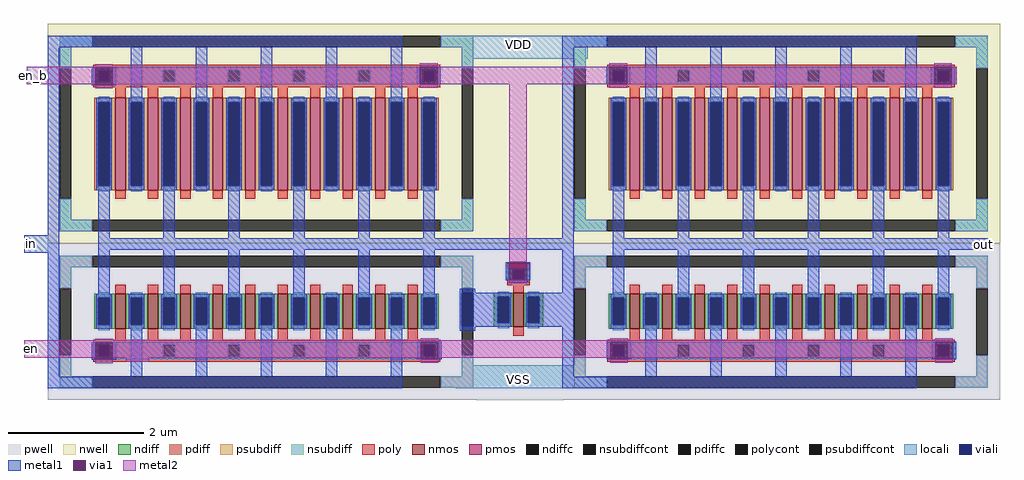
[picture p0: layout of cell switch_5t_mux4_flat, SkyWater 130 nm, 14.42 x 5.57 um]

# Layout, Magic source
magic
tech sky130A
<< nwell >>
rect 81 234 1488 559
<< pwell >>
rect 81 3 1488 234
rect 715 2 843 3
<< nmos >>
rect 181 108 196 160
rect 229 108 244 160
rect 277 108 292 160
rect 325 108 340 160
rect 373 108 388 160
rect 421 108 436 160
rect 469 108 484 160
rect 517 108 532 160
rect 565 108 580 160
rect 613 108 628 160
rect 769 111 784 161
rect 941 108 956 160
rect 989 108 1004 160
rect 1037 108 1052 160
rect 1085 108 1100 160
rect 1133 108 1148 160
rect 1181 108 1196 160
rect 1229 108 1244 160
rect 1277 108 1292 160
rect 1325 108 1340 160
rect 1373 108 1388 160
<< pmos >>
rect 181 313 196 449
rect 229 313 244 449
rect 277 313 292 449
rect 325 313 340 449
rect 373 313 388 449
rect 421 313 436 449
rect 469 313 484 449
rect 517 313 532 449
rect 565 313 580 449
rect 613 313 628 449
rect 941 313 956 449
rect 989 313 1004 449
rect 1037 313 1052 449
rect 1085 313 1100 449
rect 1133 313 1148 449
rect 1181 313 1196 449
rect 1229 313 1244 449
rect 1277 313 1292 449
rect 1325 313 1340 449
rect 1373 313 1388 449
<< ndiff >>
rect 150 154 181 160
rect 150 114 156 154
rect 173 114 181 154
rect 150 108 181 114
rect 196 154 229 160
rect 196 114 204 154
rect 221 114 229 154
rect 196 108 229 114
rect 244 154 277 160
rect 244 114 252 154
rect 269 114 277 154
rect 244 108 277 114
rect 292 154 325 160
rect 292 114 300 154
rect 317 114 325 154
rect 292 108 325 114
rect 340 154 373 160
rect 340 114 348 154
rect 365 114 373 154
rect 340 108 373 114
rect 388 154 421 160
rect 388 114 396 154
rect 413 114 421 154
rect 388 108 421 114
rect 436 154 469 160
rect 436 114 444 154
rect 461 114 469 154
rect 436 108 469 114
rect 484 154 517 160
rect 484 114 492 154
rect 509 114 517 154
rect 484 108 517 114
rect 532 154 565 160
rect 532 114 540 154
rect 557 114 565 154
rect 532 108 565 114
rect 580 154 613 160
rect 580 114 588 154
rect 605 114 613 154
rect 580 108 613 114
rect 628 154 659 160
rect 628 114 636 154
rect 653 114 659 154
rect 628 108 659 114
rect 740 155 769 161
rect 740 117 746 155
rect 763 117 769 155
rect 740 111 769 117
rect 784 155 813 161
rect 784 117 790 155
rect 807 117 813 155
rect 784 111 813 117
rect 910 154 941 160
rect 910 114 916 154
rect 933 114 941 154
rect 910 108 941 114
rect 956 154 989 160
rect 956 114 964 154
rect 981 114 989 154
rect 956 108 989 114
rect 1004 154 1037 160
rect 1004 114 1012 154
rect 1029 114 1037 154
rect 1004 108 1037 114
rect 1052 154 1085 160
rect 1052 114 1060 154
rect 1077 114 1085 154
rect 1052 108 1085 114
rect 1100 154 1133 160
rect 1100 114 1108 154
rect 1125 114 1133 154
rect 1100 108 1133 114
rect 1148 154 1181 160
rect 1148 114 1156 154
rect 1173 114 1181 154
rect 1148 108 1181 114
rect 1196 154 1229 160
rect 1196 114 1204 154
rect 1221 114 1229 154
rect 1196 108 1229 114
rect 1244 154 1277 160
rect 1244 114 1252 154
rect 1269 114 1277 154
rect 1244 108 1277 114
rect 1292 154 1325 160
rect 1292 114 1300 154
rect 1317 114 1325 154
rect 1292 108 1325 114
rect 1340 154 1373 160
rect 1340 114 1348 154
rect 1365 114 1373 154
rect 1340 108 1373 114
rect 1388 154 1419 160
rect 1388 114 1396 154
rect 1413 114 1419 154
rect 1388 108 1419 114
<< pdiff >>
rect 150 443 181 449
rect 150 319 156 443
rect 173 319 181 443
rect 150 313 181 319
rect 196 443 229 449
rect 196 319 204 443
rect 221 319 229 443
rect 196 313 229 319
rect 244 443 277 449
rect 244 319 252 443
rect 269 319 277 443
rect 244 313 277 319
rect 292 443 325 449
rect 292 319 300 443
rect 317 319 325 443
rect 292 313 325 319
rect 340 443 373 449
rect 340 319 348 443
rect 365 319 373 443
rect 340 313 373 319
rect 388 443 421 449
rect 388 319 396 443
rect 413 319 421 443
rect 388 313 421 319
rect 436 443 469 449
rect 436 319 444 443
rect 461 319 469 443
rect 436 313 469 319
rect 484 443 517 449
rect 484 319 492 443
rect 509 319 517 443
rect 484 313 517 319
rect 532 443 565 449
rect 532 319 540 443
rect 557 319 565 443
rect 532 313 565 319
rect 580 443 613 449
rect 580 319 588 443
rect 605 319 613 443
rect 580 313 613 319
rect 628 443 659 449
rect 628 319 636 443
rect 653 319 659 443
rect 628 313 659 319
rect 910 443 941 449
rect 910 319 916 443
rect 933 319 941 443
rect 910 313 941 319
rect 956 443 989 449
rect 956 319 964 443
rect 981 319 989 443
rect 956 313 989 319
rect 1004 443 1037 449
rect 1004 319 1012 443
rect 1029 319 1037 443
rect 1004 313 1037 319
rect 1052 443 1085 449
rect 1052 319 1060 443
rect 1077 319 1085 443
rect 1052 313 1085 319
rect 1100 443 1133 449
rect 1100 319 1108 443
rect 1125 319 1133 443
rect 1100 313 1133 319
rect 1148 443 1181 449
rect 1148 319 1156 443
rect 1173 319 1181 443
rect 1148 313 1181 319
rect 1196 443 1229 449
rect 1196 319 1204 443
rect 1221 319 1229 443
rect 1196 313 1229 319
rect 1244 443 1277 449
rect 1244 319 1252 443
rect 1269 319 1277 443
rect 1244 313 1277 319
rect 1292 443 1325 449
rect 1292 319 1300 443
rect 1317 319 1325 443
rect 1292 313 1325 319
rect 1340 443 1373 449
rect 1340 319 1348 443
rect 1365 319 1373 443
rect 1340 313 1373 319
rect 1388 443 1419 449
rect 1388 319 1396 443
rect 1413 319 1419 443
rect 1388 313 1419 319
<< ndiffc >>
rect 156 114 173 154
rect 204 114 221 154
rect 252 114 269 154
rect 300 114 317 154
rect 348 114 365 154
rect 396 114 413 154
rect 444 114 461 154
rect 492 114 509 154
rect 540 114 557 154
rect 588 114 605 154
rect 636 114 653 154
rect 746 117 763 155
rect 790 117 807 155
rect 916 114 933 154
rect 964 114 981 154
rect 1012 114 1029 154
rect 1060 114 1077 154
rect 1108 114 1125 154
rect 1156 114 1173 154
rect 1204 114 1221 154
rect 1252 114 1269 154
rect 1300 114 1317 154
rect 1348 114 1365 154
rect 1396 114 1413 154
<< pdiffc >>
rect 156 319 173 443
rect 204 319 221 443
rect 252 319 269 443
rect 300 319 317 443
rect 348 319 365 443
rect 396 319 413 443
rect 444 319 461 443
rect 492 319 509 443
rect 540 319 557 443
rect 588 319 605 443
rect 636 319 653 443
rect 916 319 933 443
rect 964 319 981 443
rect 1012 319 1029 443
rect 1060 319 1077 443
rect 1108 319 1125 443
rect 1156 319 1173 443
rect 1204 319 1221 443
rect 1252 319 1269 443
rect 1300 319 1317 443
rect 1348 319 1365 443
rect 1396 319 1413 443
<< psubdiff >>
rect 99 199 147 216
rect 662 199 710 216
rect 99 168 116 199
rect 693 168 710 199
rect 859 199 907 216
rect 1422 199 1470 216
rect 99 38 116 69
rect 859 168 876 199
rect 693 38 710 69
rect 99 21 147 38
rect 662 21 710 38
rect 1453 168 1470 199
rect 859 38 876 69
rect 1453 38 1470 69
rect 859 21 907 38
rect 1422 21 1470 38
<< nsubdiff >>
rect 99 524 147 541
rect 662 524 710 541
rect 99 493 116 524
rect 693 493 710 524
rect 99 269 116 300
rect 693 269 710 300
rect 99 252 147 269
rect 662 252 710 269
rect 859 524 907 541
rect 1422 524 1470 541
rect 859 493 876 524
rect 1453 493 1470 524
rect 859 269 876 300
rect 1453 269 1470 300
rect 859 252 907 269
rect 1422 252 1470 269
<< psubdiffcont >>
rect 147 199 662 216
rect 99 69 116 168
rect 907 199 1422 216
rect 693 69 710 168
rect 147 21 662 38
rect 859 69 876 168
rect 1453 69 1470 168
rect 907 21 1422 38
<< nsubdiffcont >>
rect 147 524 662 541
rect 99 300 116 493
rect 693 300 710 493
rect 147 252 662 269
rect 907 524 1422 541
rect 859 300 876 493
rect 1453 300 1470 493
rect 907 252 1422 269
<< poly >>
rect 148 490 661 498
rect 148 473 156 490
rect 173 473 252 490
rect 269 473 348 490
rect 365 473 444 490
rect 461 473 540 490
rect 557 473 636 490
rect 653 473 661 490
rect 148 465 661 473
rect 181 449 196 465
rect 229 449 244 465
rect 277 449 292 465
rect 325 449 340 465
rect 373 449 388 465
rect 421 449 436 465
rect 469 449 484 465
rect 517 449 532 465
rect 565 449 580 465
rect 613 449 628 465
rect 181 300 196 313
rect 229 300 244 313
rect 277 300 292 313
rect 325 300 340 313
rect 373 300 388 313
rect 421 300 436 313
rect 469 300 484 313
rect 517 300 532 313
rect 565 300 580 313
rect 613 300 628 313
rect 908 490 1421 498
rect 908 473 916 490
rect 933 473 1012 490
rect 1029 473 1108 490
rect 1125 473 1204 490
rect 1221 473 1300 490
rect 1317 473 1396 490
rect 1413 473 1421 490
rect 908 465 1421 473
rect 941 449 956 465
rect 989 449 1004 465
rect 1037 449 1052 465
rect 1085 449 1100 465
rect 1133 449 1148 465
rect 1181 449 1196 465
rect 1229 449 1244 465
rect 1277 449 1292 465
rect 1325 449 1340 465
rect 1373 449 1388 465
rect 941 300 956 313
rect 989 300 1004 313
rect 1037 300 1052 313
rect 1085 300 1100 313
rect 1133 300 1148 313
rect 1181 300 1196 313
rect 1229 300 1244 313
rect 1277 300 1292 313
rect 1325 300 1340 313
rect 1373 300 1388 313
rect 181 160 196 173
rect 229 160 244 173
rect 277 160 292 173
rect 325 160 340 173
rect 373 160 388 173
rect 421 160 436 173
rect 469 160 484 173
rect 517 160 532 173
rect 565 160 580 173
rect 613 160 628 173
rect 760 197 793 205
rect 760 180 768 197
rect 785 180 793 197
rect 760 172 793 180
rect 181 92 196 108
rect 229 92 244 108
rect 277 92 292 108
rect 325 92 340 108
rect 373 92 388 108
rect 421 92 436 108
rect 469 92 484 108
rect 517 92 532 108
rect 565 92 580 108
rect 613 92 628 108
rect 148 84 661 92
rect 148 67 156 84
rect 173 67 252 84
rect 269 67 348 84
rect 365 67 444 84
rect 461 67 540 84
rect 557 67 636 84
rect 653 67 661 84
rect 148 59 661 67
rect 769 161 784 172
rect 769 98 784 111
rect 941 160 956 173
rect 989 160 1004 173
rect 1037 160 1052 173
rect 1085 160 1100 173
rect 1133 160 1148 173
rect 1181 160 1196 173
rect 1229 160 1244 173
rect 1277 160 1292 173
rect 1325 160 1340 173
rect 1373 160 1388 173
rect 941 92 956 108
rect 989 92 1004 108
rect 1037 92 1052 108
rect 1085 92 1100 108
rect 1133 92 1148 108
rect 1181 92 1196 108
rect 1229 92 1244 108
rect 1277 92 1292 108
rect 1325 92 1340 108
rect 1373 92 1388 108
rect 908 84 1421 92
rect 908 67 916 84
rect 933 67 1012 84
rect 1029 67 1108 84
rect 1125 67 1204 84
rect 1221 67 1300 84
rect 1317 67 1396 84
rect 1413 67 1421 84
rect 908 59 1421 67
<< polycont >>
rect 156 473 173 490
rect 252 473 269 490
rect 348 473 365 490
rect 444 473 461 490
rect 540 473 557 490
rect 636 473 653 490
rect 916 473 933 490
rect 1012 473 1029 490
rect 1108 473 1125 490
rect 1204 473 1221 490
rect 1300 473 1317 490
rect 1396 473 1413 490
rect 768 180 785 197
rect 156 67 173 84
rect 252 67 269 84
rect 348 67 365 84
rect 444 67 461 84
rect 540 67 557 84
rect 636 67 653 84
rect 916 67 933 84
rect 1012 67 1029 84
rect 1108 67 1125 84
rect 1204 67 1221 84
rect 1300 67 1317 84
rect 1396 67 1413 84
<< locali >>
rect 99 524 147 541
rect 662 524 907 541
rect 1422 524 1470 541
rect 99 493 116 524
rect 693 507 879 524
rect 148 490 661 494
rect 148 473 156 490
rect 173 473 252 490
rect 269 473 348 490
rect 365 473 444 490
rect 461 473 540 490
rect 557 473 636 490
rect 653 473 661 490
rect 148 469 661 473
rect 693 493 710 507
rect 156 443 173 451
rect 156 311 173 319
rect 204 443 221 451
rect 204 311 221 319
rect 252 443 269 451
rect 252 311 269 319
rect 300 443 317 451
rect 300 311 317 319
rect 348 443 365 451
rect 348 311 365 319
rect 396 443 413 451
rect 396 311 413 319
rect 444 443 461 451
rect 444 311 461 319
rect 492 443 509 451
rect 492 311 509 319
rect 540 443 557 451
rect 540 311 557 319
rect 588 443 605 451
rect 588 311 605 319
rect 636 443 653 451
rect 636 311 653 319
rect 99 269 116 300
rect 693 269 710 300
rect 99 252 147 269
rect 662 252 710 269
rect 859 493 876 507
rect 908 490 1421 494
rect 908 473 916 490
rect 933 473 1012 490
rect 1029 473 1108 490
rect 1125 473 1204 490
rect 1221 473 1300 490
rect 1317 473 1396 490
rect 1413 473 1421 490
rect 908 469 1421 473
rect 1453 493 1470 524
rect 916 443 933 451
rect 916 311 933 319
rect 964 443 981 451
rect 964 311 981 319
rect 1012 443 1029 451
rect 1012 311 1029 319
rect 1060 443 1077 451
rect 1060 311 1077 319
rect 1108 443 1125 451
rect 1108 311 1125 319
rect 1156 443 1173 451
rect 1156 311 1173 319
rect 1204 443 1221 451
rect 1204 311 1221 319
rect 1252 443 1269 451
rect 1252 311 1269 319
rect 1300 443 1317 451
rect 1300 311 1317 319
rect 1348 443 1365 451
rect 1348 311 1365 319
rect 1396 443 1413 451
rect 1396 311 1413 319
rect 859 269 876 300
rect 1453 269 1470 300
rect 859 252 907 269
rect 1422 252 1470 269
rect 99 199 147 216
rect 662 199 710 216
rect 99 168 116 199
rect 693 168 710 199
rect 859 199 907 216
rect 1422 199 1470 216
rect 760 180 768 197
rect 785 180 793 197
rect 156 154 173 162
rect 156 106 173 114
rect 204 154 221 162
rect 204 106 221 114
rect 252 154 269 162
rect 252 106 269 114
rect 300 154 317 162
rect 300 106 317 114
rect 348 154 365 162
rect 348 106 365 114
rect 396 154 413 162
rect 396 106 413 114
rect 444 154 461 162
rect 444 106 461 114
rect 492 154 509 162
rect 492 106 509 114
rect 540 154 557 162
rect 540 106 557 114
rect 588 154 605 162
rect 588 106 605 114
rect 636 154 653 162
rect 636 106 653 114
rect 859 168 876 199
rect 99 38 116 69
rect 148 84 661 88
rect 148 67 156 84
rect 173 67 252 84
rect 269 67 348 84
rect 365 67 444 84
rect 461 67 540 84
rect 557 67 636 84
rect 653 67 661 84
rect 148 63 661 67
rect 746 155 763 163
rect 746 109 763 117
rect 790 155 807 163
rect 790 109 807 117
rect 693 54 710 69
rect 1453 168 1470 199
rect 916 154 933 162
rect 916 106 933 114
rect 964 154 981 162
rect 964 106 981 114
rect 1012 154 1029 162
rect 1012 106 1029 114
rect 1060 154 1077 162
rect 1060 106 1077 114
rect 1108 154 1125 162
rect 1108 106 1125 114
rect 1156 154 1173 162
rect 1156 106 1173 114
rect 1204 154 1221 162
rect 1204 106 1221 114
rect 1252 154 1269 162
rect 1252 106 1269 114
rect 1300 154 1317 162
rect 1300 106 1317 114
rect 1348 154 1365 162
rect 1348 106 1365 114
rect 1396 154 1413 162
rect 1396 106 1413 114
rect 859 54 876 69
rect 908 84 1421 88
rect 908 67 916 84
rect 933 67 1012 84
rect 1029 67 1108 84
rect 1125 67 1204 84
rect 1221 67 1300 84
rect 1317 67 1396 84
rect 1413 67 1421 84
rect 908 63 1421 67
rect 693 38 876 54
rect 1453 38 1470 69
rect 99 21 147 38
rect 662 21 907 38
rect 1422 21 1470 38
rect 684 20 883 21
<< viali >>
rect 156 473 173 490
rect 636 473 653 490
rect 156 319 173 443
rect 204 319 221 443
rect 252 319 269 443
rect 300 319 317 443
rect 348 319 365 443
rect 396 319 413 443
rect 444 319 461 443
rect 492 319 509 443
rect 540 319 557 443
rect 588 319 605 443
rect 636 319 653 443
rect 916 473 933 490
rect 1396 473 1413 490
rect 916 319 933 443
rect 964 319 981 443
rect 1012 319 1029 443
rect 1060 319 1077 443
rect 1108 319 1125 443
rect 1156 319 1173 443
rect 1204 319 1221 443
rect 1252 319 1269 443
rect 1300 319 1317 443
rect 1348 319 1365 443
rect 1396 319 1413 443
rect 768 180 785 197
rect 156 114 173 154
rect 204 114 221 154
rect 252 114 269 154
rect 300 114 317 154
rect 348 114 365 154
rect 396 114 413 154
rect 444 114 461 154
rect 492 114 509 154
rect 540 114 557 154
rect 588 114 605 154
rect 636 114 653 154
rect 693 111 710 161
rect 156 67 173 84
rect 636 67 653 84
rect 746 117 763 155
rect 790 117 807 155
rect 916 114 933 154
rect 964 114 981 154
rect 1012 114 1029 154
rect 1060 114 1077 154
rect 1108 114 1125 154
rect 1156 114 1173 154
rect 1204 114 1221 154
rect 1252 114 1269 154
rect 1300 114 1317 154
rect 1348 114 1365 154
rect 1396 114 1413 154
rect 916 67 933 84
rect 1396 67 1413 84
<< metal1 >>
rect 81 524 605 541
rect 81 246 98 524
rect 146 468 151 494
rect 177 468 182 494
rect 204 449 221 524
rect 300 449 317 524
rect 396 449 413 524
rect 492 449 509 524
rect 588 449 605 524
rect 841 524 1365 541
rect 626 469 631 495
rect 657 469 662 495
rect 153 443 176 449
rect 153 319 156 443
rect 173 319 176 443
rect 153 313 176 319
rect 201 443 224 449
rect 201 319 204 443
rect 221 319 224 443
rect 201 313 224 319
rect 249 443 272 449
rect 249 319 252 443
rect 269 319 272 443
rect 249 313 272 319
rect 297 443 320 449
rect 297 319 300 443
rect 317 319 320 443
rect 297 313 320 319
rect 345 443 368 449
rect 345 319 348 443
rect 365 319 368 443
rect 345 313 368 319
rect 393 443 416 449
rect 393 319 396 443
rect 413 319 416 443
rect 393 313 416 319
rect 441 443 464 449
rect 441 319 444 443
rect 461 319 464 443
rect 441 313 464 319
rect 489 443 512 449
rect 489 319 492 443
rect 509 319 512 443
rect 489 313 512 319
rect 537 443 560 449
rect 537 319 540 443
rect 557 319 560 443
rect 537 313 560 319
rect 585 443 608 449
rect 585 319 588 443
rect 605 319 608 443
rect 585 313 608 319
rect 633 443 656 449
rect 633 319 636 443
rect 653 319 656 443
rect 633 313 656 319
rect 46 220 98 246
rect 81 37 98 220
rect 156 242 173 313
rect 252 242 269 313
rect 348 242 365 313
rect 444 242 461 313
rect 540 242 557 313
rect 636 242 653 313
rect 841 242 858 524
rect 906 469 911 495
rect 937 469 942 495
rect 964 449 981 524
rect 1060 449 1077 524
rect 1156 449 1173 524
rect 1252 449 1269 524
rect 1348 449 1365 524
rect 1386 469 1391 495
rect 1417 469 1422 495
rect 913 443 936 449
rect 913 319 916 443
rect 933 319 936 443
rect 913 313 936 319
rect 961 443 984 449
rect 961 319 964 443
rect 981 319 984 443
rect 961 313 984 319
rect 1009 443 1032 449
rect 1009 319 1012 443
rect 1029 319 1032 443
rect 1009 313 1032 319
rect 1057 443 1080 449
rect 1057 319 1060 443
rect 1077 319 1080 443
rect 1057 313 1080 319
rect 1105 443 1128 449
rect 1105 319 1108 443
rect 1125 319 1128 443
rect 1105 313 1128 319
rect 1153 443 1176 449
rect 1153 319 1156 443
rect 1173 319 1176 443
rect 1153 313 1176 319
rect 1201 443 1224 449
rect 1201 319 1204 443
rect 1221 319 1224 443
rect 1201 313 1224 319
rect 1249 443 1272 449
rect 1249 319 1252 443
rect 1269 319 1272 443
rect 1249 313 1272 319
rect 1297 443 1320 449
rect 1297 319 1300 443
rect 1317 319 1320 443
rect 1297 313 1320 319
rect 1345 443 1368 449
rect 1345 319 1348 443
rect 1365 319 1368 443
rect 1345 313 1368 319
rect 1393 443 1416 449
rect 1393 319 1396 443
rect 1413 319 1416 443
rect 1393 313 1416 319
rect 156 225 858 242
rect 156 160 173 225
rect 252 160 269 225
rect 348 160 365 225
rect 444 160 461 225
rect 540 160 557 225
rect 636 160 653 225
rect 758 180 763 206
rect 789 180 794 206
rect 762 177 791 180
rect 690 161 713 167
rect 841 161 858 225
rect 153 154 176 160
rect 153 114 156 154
rect 173 114 176 154
rect 153 108 176 114
rect 201 154 224 160
rect 201 114 204 154
rect 221 114 224 154
rect 201 108 224 114
rect 249 154 272 160
rect 249 114 252 154
rect 269 114 272 154
rect 249 108 272 114
rect 297 154 320 160
rect 297 114 300 154
rect 317 114 320 154
rect 297 108 320 114
rect 345 154 368 160
rect 345 114 348 154
rect 365 114 368 154
rect 345 108 368 114
rect 393 154 416 160
rect 393 114 396 154
rect 413 114 416 154
rect 393 108 416 114
rect 441 154 464 160
rect 441 114 444 154
rect 461 114 464 154
rect 441 108 464 114
rect 489 154 512 160
rect 489 114 492 154
rect 509 114 512 154
rect 489 108 512 114
rect 537 154 560 160
rect 537 114 540 154
rect 557 114 560 154
rect 537 108 560 114
rect 585 154 608 160
rect 585 114 588 154
rect 605 114 608 154
rect 585 108 608 114
rect 633 154 656 160
rect 633 114 636 154
rect 653 114 656 154
rect 633 108 656 114
rect 690 111 693 161
rect 710 155 766 161
rect 710 117 746 155
rect 763 117 766 155
rect 710 111 766 117
rect 787 155 858 161
rect 916 242 933 313
rect 1012 242 1029 313
rect 1108 242 1125 313
rect 1204 242 1221 313
rect 1300 242 1317 313
rect 1396 242 1413 313
rect 916 225 1471 242
rect 916 160 933 225
rect 1012 160 1029 225
rect 1108 160 1125 225
rect 1204 160 1221 225
rect 1300 160 1317 225
rect 1396 160 1413 225
rect 787 117 790 155
rect 807 117 858 155
rect 787 111 858 117
rect 146 62 151 88
rect 177 62 182 88
rect 204 37 221 108
rect 300 37 317 108
rect 396 37 413 108
rect 492 37 509 108
rect 588 37 605 108
rect 690 105 713 111
rect 627 63 632 89
rect 658 63 663 89
rect 81 20 605 37
rect 841 37 858 111
rect 913 154 936 160
rect 913 114 916 154
rect 933 114 936 154
rect 913 108 936 114
rect 961 154 984 160
rect 961 114 964 154
rect 981 114 984 154
rect 961 108 984 114
rect 1009 154 1032 160
rect 1009 114 1012 154
rect 1029 114 1032 154
rect 1009 108 1032 114
rect 1057 154 1080 160
rect 1057 114 1060 154
rect 1077 114 1080 154
rect 1057 108 1080 114
rect 1105 154 1128 160
rect 1105 114 1108 154
rect 1125 114 1128 154
rect 1105 108 1128 114
rect 1153 154 1176 160
rect 1153 114 1156 154
rect 1173 114 1176 154
rect 1153 108 1176 114
rect 1201 154 1224 160
rect 1201 114 1204 154
rect 1221 114 1224 154
rect 1201 108 1224 114
rect 1249 154 1272 160
rect 1249 114 1252 154
rect 1269 114 1272 154
rect 1249 108 1272 114
rect 1297 154 1320 160
rect 1297 114 1300 154
rect 1317 114 1320 154
rect 1297 108 1320 114
rect 1345 154 1368 160
rect 1345 114 1348 154
rect 1365 114 1368 154
rect 1345 108 1368 114
rect 1393 154 1416 160
rect 1393 114 1396 154
rect 1413 114 1416 154
rect 1393 108 1416 114
rect 907 63 912 89
rect 938 63 943 89
rect 964 37 981 108
rect 1060 37 1077 108
rect 1156 37 1173 108
rect 1252 37 1269 108
rect 1348 37 1365 108
rect 1387 63 1392 89
rect 1418 63 1423 89
rect 841 20 1365 37
<< via1 >>
rect 151 490 177 494
rect 151 473 156 490
rect 156 473 173 490
rect 173 473 177 490
rect 151 468 177 473
rect 631 490 657 495
rect 631 473 636 490
rect 636 473 653 490
rect 653 473 657 490
rect 631 469 657 473
rect 911 490 937 495
rect 911 473 916 490
rect 916 473 933 490
rect 933 473 937 490
rect 911 469 937 473
rect 1391 490 1417 495
rect 1391 473 1396 490
rect 1396 473 1413 490
rect 1413 473 1417 490
rect 1391 469 1417 473
rect 763 197 789 206
rect 763 180 768 197
rect 768 180 785 197
rect 785 180 789 197
rect 151 84 177 88
rect 151 67 156 84
rect 156 67 173 84
rect 173 67 177 84
rect 151 62 177 67
rect 632 84 658 89
rect 632 67 636 84
rect 636 67 653 84
rect 653 67 658 84
rect 632 63 658 67
rect 912 84 938 89
rect 912 67 916 84
rect 916 67 933 84
rect 933 67 938 84
rect 912 63 938 67
rect 1392 84 1418 89
rect 1392 67 1396 84
rect 1396 67 1413 84
rect 1413 67 1418 84
rect 1392 63 1418 67
<< metal2 >>
rect 151 495 177 499
rect 631 495 657 500
rect 911 495 937 500
rect 1391 495 1417 500
rect 50 494 631 495
rect 50 469 151 494
rect 177 469 631 494
rect 657 469 911 495
rect 937 469 1391 495
rect 1417 469 1424 495
rect 151 463 177 468
rect 631 464 657 469
rect 763 206 789 469
rect 911 464 937 469
rect 1391 464 1417 469
rect 763 175 789 180
rect 151 91 177 93
rect 197 91 230 92
rect 632 91 658 94
rect 912 91 938 94
rect 1392 91 1418 94
rect 46 89 1418 91
rect 46 88 632 89
rect 46 65 151 88
rect 177 65 632 88
rect 151 57 177 62
rect 197 59 230 65
rect 658 65 912 89
rect 632 58 658 63
rect 938 65 1392 89
rect 912 58 938 63
rect 1392 58 1418 63
<< labels >>
flabel locali 776 528 776 528 1 FreeSans 200 0 0 0 VDD
port 5 n power bidirectional
flabel locali 776 33 776 33 1 FreeSans 200 0 0 0 VSS
port 6 n ground bidirectional
flabel metal1 57 234 57 234 1 FreeSans 200 0 0 0 in
port 1 n
flabel metal2 60 482 60 482 1 FreeSans 200 0 0 0 en_b
port 4 n
flabel metal2 57 79 57 79 1 FreeSans 200 0 0 0 en
port 3 n
flabel metal1 1463 232 1463 232 1 FreeSans 200 0 0 0 out
port 2 n
<< end >>
